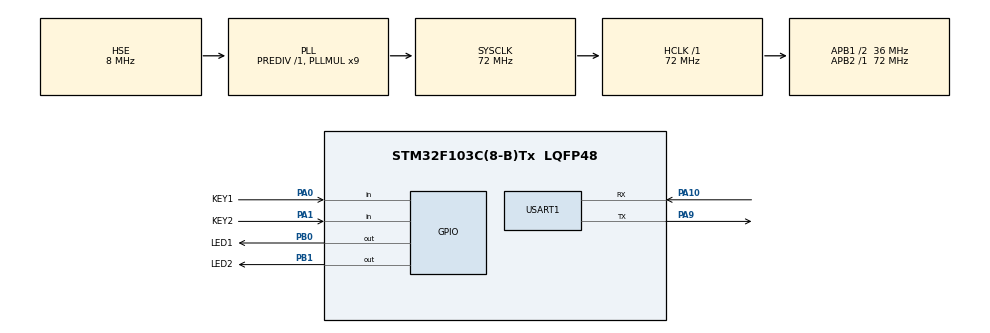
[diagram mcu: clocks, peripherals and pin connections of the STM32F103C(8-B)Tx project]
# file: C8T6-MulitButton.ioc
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Mcu.Family=STM32F1
Mcu.Name=STM32F103C(8-B)Tx
Mcu.Package=LQFP48
NVIC.PriorityGroup=NVIC_PRIORITYGROUP_4
PA0-WKUP.GPIO_Label=KEY1
PA0-WKUP.GPIO_PuPd=GPIO_PULLUP
PA0-WKUP.Signal=GPIO_Input
PA1.GPIO_Label=KEY2
PA1.GPIO_PuPd=GPIO_PULLUP
PA1.Signal=GPIO_Input
PA10.Mode=Asynchronous
PA10.Signal=USART1_RX
PA9.Mode=Asynchronous
PA9.Signal=USART1_TX
PB0.GPIO_Label=LED1
PB0.GPIO_Speed=GPIO_SPEED_FREQ_HIGH
PB0.PinState=GPIO_PIN_SET
PB0.Signal=GPIO_Output
PB1.GPIO_Label=LED2
PB1.GPIO_Speed=GPIO_SPEED_FREQ_HIGH
PB1.PinState=GPIO_PIN_SET
PB1.Signal=GPIO_Output
PD0-OSC_IN.Mode=HSE-External-Oscillator
PD0-OSC_IN.Signal=RCC_OSC_IN
PD1-OSC_OUT.Mode=HSE-External-Oscillator
PD1-OSC_OUT.Signal=RCC_OSC_OUT
ProjectManager.HeapSize=0x200
ProjectManager.StackSize=0x400
ProjectManager.TargetToolchain=MDK-ARM V5.32
RCC.AHBFreq_Value=72000000
RCC.APB1CLKDivider=RCC_HCLK_DIV2
RCC.APB1Freq_Value=36000000
RCC.APB1TimFreq_Value=72000000
RCC.APB2Freq_Value=72000000
RCC.APB2TimFreq_Value=72000000
RCC.HCLKFreq_Value=72000000
RCC.PLLMUL=RCC_PLL_MUL9
RCC.PLLSourceVirtual=RCC_PLLSOURCE_HSE
RCC.SYSCLKFreq_VALUE=72000000
RCC.SYSCLKSource=RCC_SYSCLKSOURCE_PLLCLK
RCC.USBFreq_Value=72000000
USART1.VirtualMode=VM_ASYNC
VP_SYS_VS_ND.Mode=No_Debug
board=custom

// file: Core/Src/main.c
/* USER CODE BEGIN Header */
/**
  ******************************************************************************
  * @file           : main.c
  * @brief          : Main program body
  ******************************************************************************
  * @attention
  *
  * Copyright (c) 2024 STMicroelectronics.
  * All rights reserved.
  *
  * This software is licensed under terms that can be found in the LICENSE file
  * in the root directory of this software component.
  * If no LICENSE file comes with this software, it is provided AS-IS.
  *
  ******************************************************************************
  */
/* USER CODE END Header */
#include "main.h"
#include "usart.h"
#include "gpio.h"

/* USER CODE BEGIN Includes */
#include "stdio.h"
#include "multi_button.h"
/* USER CODE END Includes */

/* USER CODE BEGIN PV */
enum Button_IDs
{
    btn1_id,
    btn2_id,
};

struct Button btn1;
struct Button btn2;
/* USER CODE END PV */

void SystemClock_Config(void);

/* USER CODE BEGIN 0 */
uint8_t read_button_GPIO(uint8_t button_id)
{
    // you can share the GPIO read function with multiple Buttons
    switch (button_id)
    {
        case btn1_id:
            return HAL_GPIO_ReadPin(KEY1_GPIO_Port, KEY1_Pin);
        case btn2_id:
            return HAL_GPIO_ReadPin(KEY2_GPIO_Port, KEY2_Pin);
        default:
            return 0;
    }
}
void BTN1_PRESS_DOWN_Handler(void* btn)
{
    printf("KEY1 Press\r\n");
    HAL_GPIO_TogglePin(LED1_GPIO_Port, LED1_Pin);

}

void BTN2_PRESS_DOWN_Handler(void* btn)
{
    printf("KEY2 Press\r\n");
    HAL_GPIO_TogglePin(LED2_GPIO_Port, LED2_Pin);
}
/* USER CODE END 0 */

int main(void)
{

    /* MCU Configuration--------------------------------------------------------*/

    /* Reset of all peripherals, Initializes the Flash interface and the Systick. */
    HAL_Init();

    /* Configure the system clock */
    SystemClock_Config();

    /* Initialize all configured peripherals */
    MX_GPIO_Init();
    MX_USART1_UART_Init();
    /* USER CODE BEGIN 2 */
    button_init(&btn1, read_button_GPIO, 0, btn1_id);
    button_init(&btn2, read_button_GPIO, 0, btn2_id);
    button_attach(&btn1, SINGLE_CLICK, BTN1_PRESS_DOWN_Handler);
    button_attach(&btn2, DOUBLE_CLICK, BTN2_PRESS_DOWN_Handler);
    button_start(&btn1);
    button_start(&btn2);
    /* USER CODE END 2 */

    /* Infinite loop */
    /* USER CODE BEGIN WHILE */
    while (1)
    {
        button_ticks();
        HAL_Delay(5);
        /* USER CODE END WHILE */

    }
}

void SystemClock_Config(void)
{
    RCC_OscInitTypeDef RCC_OscInitStruct = {0};
    RCC_ClkInitTypeDef RCC_ClkInitStruct = {0};

    /** Initializes the RCC Oscillators according to the specified parameters
    * in the RCC_OscInitTypeDef structure.
    */
    RCC_OscInitStruct.OscillatorType = RCC_OSCILLATORTYPE_HSE;
    RCC_OscInitStruct.HSEState = RCC_HSE_ON;
    RCC_OscInitStruct.HSEPredivValue = RCC_HSE_PREDIV_DIV1;
    RCC_OscInitStruct.HSIState = RCC_HSI_ON;
    RCC_OscInitStruct.PLL.PLLState = RCC_PLL_ON;
    RCC_OscInitStruct.PLL.PLLSource = RCC_PLLSOURCE_HSE;
    RCC_OscInitStruct.PLL.PLLMUL = RCC_PLL_MUL9;
    if (HAL_RCC_OscConfig(&RCC_OscInitStruct) != HAL_OK)
    {
        Error_Handler();
    }

    /** Initializes the CPU, AHB and APB buses clocks
    */
    RCC_ClkInitStruct.ClockType = RCC_CLOCKTYPE_HCLK|RCC_CLOCKTYPE_SYSCLK
                                  |RCC_CLOCKTYPE_PCLK1|RCC_CLOCKTYPE_PCLK2;
    RCC_ClkInitStruct.SYSCLKSource = RCC_SYSCLKSOURCE_PLLCLK;
    RCC_ClkInitStruct.AHBCLKDivider = RCC_SYSCLK_DIV1;
    RCC_ClkInitStruct.APB1CLKDivider = RCC_HCLK_DIV2;
    RCC_ClkInitStruct.APB2CLKDivider = RCC_HCLK_DIV1;

    if (HAL_RCC_ClockConfig(&RCC_ClkInitStruct, FLASH_LATENCY_2) != HAL_OK)
    {
        Error_Handler();
    }
}

/* USER CODE BEGIN 4 */

int fputc(int ch, FILE *f)
{
    HAL_UART_Transmit(&huart1, (uint8_t *)&ch, 1, 0xffff);
    return ch;
}
/* USER CODE END 4 */

void Error_Handler(void)
{
    __disable_irq();
    while (1)
    {
    }
}
